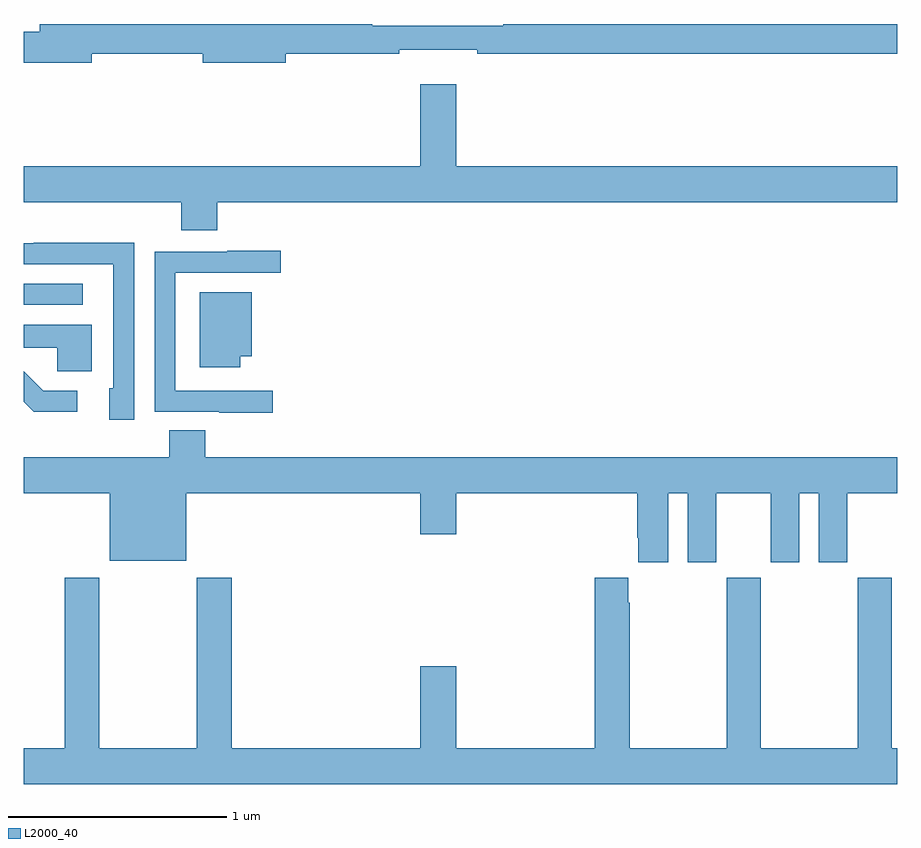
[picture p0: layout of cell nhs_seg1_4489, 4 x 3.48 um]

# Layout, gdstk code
import gdstk
lib = gdstk.Library(unit=1e-6, precision=1e-09)
def R(c, l, rs):  # rectangles x0, y0, x1, y1
    for r in rs: c.add(gdstk.rectangle(r[:2], r[2:], *l))
def P(c, l, *ps):  # polygons
    for p in ps: c.add(gdstk.Polygon(p, *l))
L2000_40 = (2000, 40)

nhs_seg1_4489 = lib.new_cell('nhs_seg1_4489')
R(nhs_seg1_4489, L2000_40, [(355,540.606,355.27,540.702)])
P(nhs_seg1_4489, L2000_40, [(355.312,541.756),(355.82,541.756),(355.82,541.714),(356.2,541.714),(356.2,541.756),(356.72,541.756),(356.72,541.775),(357.076,541.775),(357.076,541.756),(359,541.756),(359,541.892),(357.196,541.892),(357.196,541.885),(356.596,541.885),(356.596,541.892),(355.073,541.892),(355.073,541.856),(355,541.856),(355,541.714),(355.312,541.714)],
  [(355.886,541.076),(359,541.076),(359,541.24),(356.98,541.24),(356.98,541.615),(356.816,541.615),(356.816,541.24),(355,541.24),(355,541.076),(355.721,541.076),(355.721,540.948),(355.886,540.948)],
  [(355.506,540.89),(355.045,540.89),(355.045,540.888),(355,540.888),(355,540.792),(355.409,540.792),(355.409,540.538),(355.41,540.538),(355.41,540.225),(355.391,540.225),(355.391,540.081),(355.506,540.081)],
  [(356.14,540.213),(355.695,540.213),(355.695,540.753),(356.176,540.753),(356.176,540.853),(355.931,540.853),(355.931,540.849),(355.599,540.849),(355.599,540.117),(355.895,540.117),(355.895,540.113),(356.14,540.113)],
  [(355.991,540.371),(356.044,540.371),(356.044,540.664),(355.805,540.664),(355.805,540.32),(355.991,540.32)],
  [(355.312,540.514),(355,540.514),(355,540.41),(355.154,540.41),(355.154,540.302),(355.312,540.302)],
  [(355.246,540.213),(355.09,540.213),(355,540.303),(355,540.162),(355.046,540.116),(355.246,540.116)],
  [(357.952,539.744),(358.04,539.744),(358.04,539.427),(358.171,539.427),(358.171,539.744),(358.421,539.744),(358.421,539.427),(358.552,539.427),(358.552,539.744),(358.64,539.744),(358.64,539.427),(358.771,539.427),(358.771,539.744),(359,539.744),(359,539.908),(355.832,539.908),(355.832,540.032),(355.667,540.032),(355.667,539.908),(355,539.908),(355,539.744),(355.394,539.744),(355.394,539.435),(355.744,539.435),(355.744,539.744),(356.816,539.744),(356.816,539.556),(356.98,539.556),(356.98,539.744),(357.809,539.744),(357.809,539.539),(357.815,539.539),(357.815,539.427),(357.952,539.427)],
  [(356.816,538.951),(356.816,538.576),(355.952,538.576),(355.952,539.356),(355.792,539.356),(355.792,538.576),(355.347,538.576),(355.347,539.356),(355.187,539.356),(355.187,538.576),(355,538.576),(355,538.412),(359,538.412),(359,538.576),(358.974,538.576),(358.974,539.356),(358.819,539.356),(358.819,538.576),(358.374,538.576),(358.374,539.356),(358.219,539.356),(358.219,538.576),(357.774,538.576),(357.774,539.243),(357.769,539.243),(357.769,539.356),(357.614,539.356),(357.614,538.576),(356.98,538.576),(356.98,538.951)])

lib.write_gds('nhs_seg1_4489.gds')
